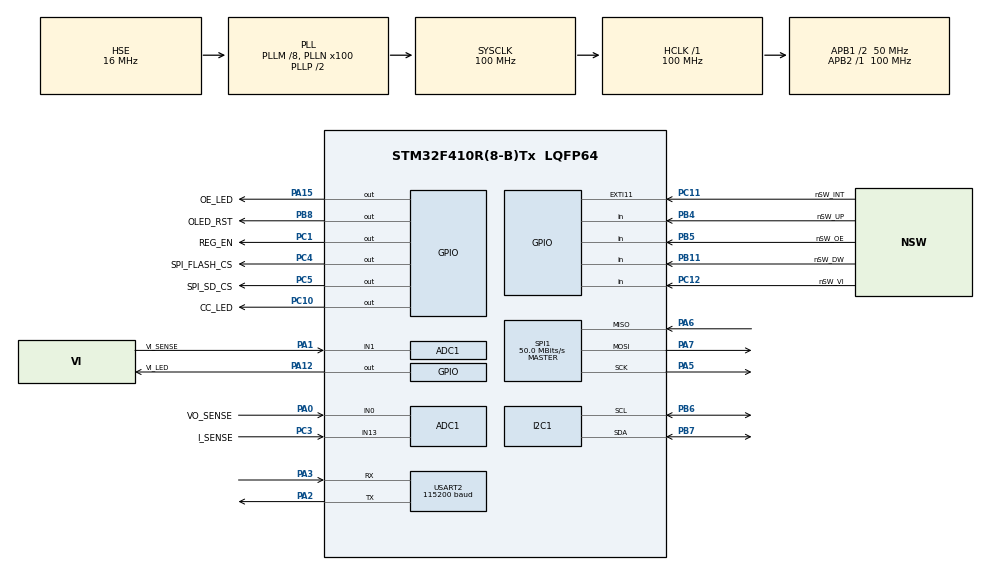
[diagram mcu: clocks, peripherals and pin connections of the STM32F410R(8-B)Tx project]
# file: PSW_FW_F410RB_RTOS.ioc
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Mcu.Family=STM32F4
PA6.Mode=Full_Duplex_Master
VP_SYS_VS_tim6.Mode=TIM6
RCC.CortexFreq_Value=100000000
SPI1.VirtualType=VM_MASTER
ADC1.ContinuousConvMode=ENABLE
NVIC.TIM6_DAC_IRQn=true\:0\:0\:false\:false\:true\:false\:false\:true
Dma.USART2_TX.1.MemInc=DMA_MINC_ENABLE
PC10.Signal=GPIO_Output
PC12.Signal=GPIO_Input
USART2.Parity=PARITY_EVEN
PB11.Signal=GPIO_Input
RCC.SYSCLKSource=RCC_SYSCLKSOURCE_PLLCLK
ProjectManager.StackSize=0x400
NVIC.ADC_IRQn=true\:5\:0\:false\:false\:true\:true\:true\:true
PA15.GPIO_Label=OE_LED
FREERTOS.configENABLE_FPU=1
PA12.Signal=GPIO_Output
PH0\ -\ OSC_IN.Signal=RCC_OSC_IN
Dma.USART2_RX.0.Priority=DMA_PRIORITY_VERY_HIGH
ADC1.Channel-3\#ChannelRegularConversion=ADC_CHANNEL_0
SPI1.Direction=SPI_DIRECTION_2LINES
Dma.USART2_RX.0.PeriphDataAlignment=DMA_PDATAALIGN_BYTE
RCC.HCLKFreq_Value=100000000
RCC.APB2TimFreq_Value=100000000
PB6.Signal=I2C1_SCL
ADC1.InjNumberOfConversion=0
Dma.USART2_TX.1.Mode=DMA_NORMAL
PB6.Mode=I2C
SPI1.CalculateBaudRate=50.0 MBits/s
PC3.Signal=SharedAnalog_PC3
NVIC.DMA2_Stream0_IRQn=true\:5\:0\:false\:false\:true\:true\:false\:true
PC1.PinState=GPIO_PIN_SET
RCC.AHBFreq_Value=100000000
NVIC.EXTI15_10_IRQn=true\:5\:0\:false\:false\:true\:true\:true\:true
ADC1.Channel-0\#ChannelRegularConversion=ADC_CHANNEL_13
NVIC.TIM1_TRG_COM_TIM11_IRQn=true\:5\:0\:false\:false\:true\:true\:true\:true
RCC.HSE_VALUE=16000000
FREERTOS.configUSE_TIMERS=1
PB3.Mode=Trace_Asynchronous_SW
ADC1.SamplingTime-4\#ChannelRegularConversion=ADC_SAMPLETIME_480CYCLES
Dma.ADC1.2.MemDataAlignment=DMA_MDATAALIGN_HALFWORD
Dma.USART2_RX.0.MemDataAlignment=DMA_MDATAALIGN_BYTE
PC4.GPIO_Label=SPI_FLASH_CS
PA14.Mode=Trace_Asynchronous_SW
Dma.USART2_TX.1.Instance=DMA1_Stream6
PC11.GPIO_Label=nSW_INT
Dma.USART2_RX.0.Instance=DMA1_Stream5
PB8.PinState=GPIO_PIN_RESET
Dma.ADC1.2.Direction=DMA_PERIPH_TO_MEMORY
PB7.Signal=I2C1_SDA
VP_FREERTOS_VS_CMSIS_V1.Mode=CMSIS_V1
ADC1.SamplingTime-0\#ChannelRegularConversion=ADC_SAMPLETIME_480CYCLES
TIM11.OC1Preload=ENABLE
Mcu.Package=LQFP64
PA6.Signal=SPI1_MISO
FREERTOS.configUSE_NEWLIB_REENTRANT=1
NVIC.TimeBase=TIM6_DAC_IRQn
Dma.USART2_RX.0.PeriphInc=DMA_PINC_DISABLE
USART2.VirtualMode=VM_ASYNC
Dma.USART2_RX.0.FIFOMode=DMA_FIFOMODE_DISABLE
RCC.EnbaleCSS=true
NVIC.TimeBaseIP=TIM6
PA15.Signal=GPIO_Output
USART2.WordLength=WORDLENGTH_9B
PB5.GPIO_Label=nSW_OE
Dma.Request2=ADC1
Dma.Request1=USART2_TX
RCC.APB1TimFreq_Value=100000000
PC5.Signal=GPIO_Output
Dma.Request0=USART2_RX
NVIC.DMA1_Stream6_IRQn=true\:5\:0\:false\:false\:true\:true\:false\:true
ADC1.EOCSelection=ADC_EOC_SEQ_CONV
ADC1.Rank-4\#ChannelRegularConversion=3
PB4.Signal=GPIO_Input
Dma.ADC1.2.Mode=DMA_CIRCULAR
PA3.Signal=USART2_RX
PA5.Mode=Full_Duplex_Master
RCC.PLLSourceVirtual=RCC_PLLSOURCE_HSE
Dma.USART2_TX.1.Priority=DMA_PRIORITY_HIGH
FREERTOS.Tasks01=uartTxTask,1,512,startUartTxTask,Default,NULL,Dynamic,NULL,NULL;uartRxTask,0,1024,startUartRxTask,Default,NULL,Dynamic,NULL,NULL;oledTask,-2,512,startOledTask,Default,NULL,Dynamic,NULL,NULL;initPsuTask,2,128,startInitPsuTask,Default,NULL,Dynamic,NULL,NULL;ledTask,-2,128,startLedTask,Default,NULL,Dynamic,NULL,NULL;regulatorCtrlTa,-2,128,startRegulatorCtrlTask,Default,NULL,Dynamic,NULL,NULL;btnsTask,-2,512,startBtnsTask,Default,NULL,Dynamic,NULL,NULL;mcp4018Task,-2,128,startMcp4018Task,Default,NULL,Dynamic,NULL,NULL
ADC1.Rank-0\#ChannelRegularConversion=1
PA7.Mode=Full_Duplex_Master
ADC1.Channel-4\#ChannelRegularConversion=ADC_CHANNEL_1
PC10.GPIO_Label=CC_LED
Dma.USART2_TX.1.FIFOMode=DMA_FIFOMODE_DISABLE
SH.SharedAnalog_PC3.1=ADC1_IN13,IN13
SH.SharedAnalog_PC3.0=GPIO_Analog
SH.SharedAnalog_PA0.0=GPIO_Analog
SH.SharedAnalog_PA0.1=ADC1_IN0,IN0
PC11.Signal=GPXTI11
Dma.ADC1.2.PeriphDataAlignment=DMA_PDATAALIGN_HALFWORD
PH1\ -\ OSC_OUT.Mode=HSE-External-Oscillator
PC4.Signal=GPIO_Output
PB11.GPIO_Label=nSW_DW
Dma.USART2_RX.0.Direction=DMA_PERIPH_TO_MEMORY
TIM11.Prescaler=10000-1
ADC1.ExternalTrigConvEdge=ADC_EXTERNALTRIGCONVEDGE_NONE
RCC.APB1CLKDivider=RCC_HCLK_DIV2
Dma.USART2_TX.1.PeriphDataAlignment=DMA_PDATAALIGN_BYTE
NVIC.USART2_IRQn=true\:5\:0\:false\:false\:true\:true\:true\:true
USART2.BaudRate=115200
PA12.GPIO_Label=VI_LED
TIM11.OCMode_1=TIM_OCMODE_TOGGLE
PA0-WKUP.GPIO_Label=VO_SENSE
PA0-WKUP.Signal=SharedAnalog_PA0
VP_TIM11_VS_ClockSourceINT.Mode=Enable_Timer
Dma.USART2_RX.0.Mode=DMA_NORMAL
PA3.Mode=Asynchronous
PA13.Signal=SYS_JTMS-SWDIO
PB8.GPIO_Label=OLED_RST
PH0\ -\ OSC_IN.Mode=HSE-External-Oscillator
Dma.ADC1.2.MemInc=DMA_MINC_ENABLE
ProjectManager.TargetToolchain=STM32CubeIDE
NVIC.DMA1_Stream5_IRQn=true\:5\:0\:false\:false\:true\:false\:false\:true
I2C1.I2C_Mode=I2C_Fast
RCC.LSE_VALUE=32768
PA1.Signal=SharedAnalog_PA1
PA5.Signal=SPI1_SCK
PH1\ -\ OSC_OUT.Signal=RCC_OSC_OUT
Dma.USART2_TX.1.PeriphInc=DMA_PINC_DISABLE
board=custom
RCC.VCOOutputFreq_Value=200000000
TIM11.Period=5000-1
Dma.USART2_TX.1.Direction=DMA_MEMORY_TO_PERIPH
RCC.APB2Freq_Value=100000000
PB4.GPIO_Label=nSW_UP
PC11.GPIO_ModeDefaultEXTI=GPIO_MODE_IT_FALLING
SPI1.Mode=SPI_MODE_MASTER
PA1.GPIO_Label=VI_SENSE
PC1.GPIO_Label=REG_EN
ADC1.DMAContinuousRequests=ENABLE
ADC1.NbrOfConversion=3
PA13.Mode=Trace_Asynchronous_SW
Mcu.Name=STM32F410R(8-B)Tx
Dma.USART2_RX.0.MemInc=DMA_MINC_ENABLE
PA2.Signal=USART2_TX
Dma.ADC1.2.Instance=DMA2_Stream0
ADC1.ExternalTrigConv=ADC_SOFTWARE_START
RCC.48MHZClocksFreq_Value=50000000
PB3.Signal=SYS_JTDO-SWO
RCC.SYSCLKFreq_VALUE=100000000
Dma.ADC1.2.Priority=DMA_PRIORITY_HIGH
PB5.Signal=GPIO_Input
ADC1.master=1
ADC1.Rank-3\#ChannelRegularConversion=2
ADC1.SamplingTime-3\#ChannelRegularConversion=ADC_SAMPLETIME_480CYCLES
Dma.ADC1.2.PeriphInc=DMA_PINC_DISABLE
PC5.GPIO_Label=SPI_SD_CS
PC12.GPIO_Label=nSW_VI
VP_TIM11_VS_no_output1.Mode=Output Compare1 No Output
PB7.Mode=I2C
PA14.Signal=SYS_JTCK-SWCLK
ProjectManager.HeapSize=0x200
Dma.ADC1.2.FIFOMode=DMA_FIFOMODE_DISABLE
RCC.HSI_VALUE=16000000
TIM11.AutoReloadPreload=TIM_AUTORELOAD_PRELOAD_ENABLE
SH.SharedAnalog_PA1.1=ADC1_IN1,IN1
NVIC.PriorityGroup=NVIC_PRIORITYGROUP_4
SH.SharedAnalog_PA1.0=GPIO_Analog
ADC1.NbrOfConversionFlag=1
RCC.PLLM=8
RCC.PLLN=100
TIM11.Channel=TIM_CHANNEL_1
PA2.Mode=Asynchronous
PB8.Signal=GPIO_Output
PC3.GPIO_Label=I_SENSE
Dma.USART2_TX.1.MemDataAlignment=DMA_MDATAALIGN_BYTE
RCC.APB1Freq_Value=50000000
ADC1.ClockPrescaler=ADC_CLOCK_SYNC_PCLK_DIV4
PC1.Signal=GPIO_Output
PA7.Signal=SPI1_MOSI

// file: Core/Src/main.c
/* USER CODE BEGIN Header */
/**
 ******************************************************************************
 * @file           : main.c
 * @brief          : Main program body
 ******************************************************************************
 * @attention
 *
 * <h2><center>&copy; Copyright (c) 2021 STMicroelectronics.
 * All rights reserved.</center></h2>
 *
 * This software component is licensed by ST under BSD 3-Clause license,
 * the "License"; You may not use this file except in compliance with the
 * License. You may obtain a copy of the License at:
 *                        opensource.org/licenses/BSD-3-Clause
 *
 ******************************************************************************
 */
/* USER CODE END Header */
#include "main.h"
#include "cmsis_os.h"

/* USER CODE BEGIN Includes */
#include "display.h"
#include "leds.h"
#include "stats.h"
#include "uart.h"
#include "analog.h"
#include "buttons.h"
#include "mcp4018.h"
/* USER CODE END Includes */

ADC_HandleTypeDef hadc1;
DMA_HandleTypeDef hdma_adc1;

I2C_HandleTypeDef hi2c1;

SPI_HandleTypeDef hspi1;

TIM_HandleTypeDef htim11;

UART_HandleTypeDef huart2;
DMA_HandleTypeDef hdma_usart2_rx;
DMA_HandleTypeDef hdma_usart2_tx;

osThreadId uartTxTaskHandle;
osThreadId uartRxTaskHandle;
osThreadId oledTaskHandle;
osThreadId initPsuTaskHandle;
osThreadId ledTaskHandle;
osThreadId regulatorCtrlTaHandle;
osThreadId btnsTaskHandle;
osThreadId mcp4018TaskHandle;
/* USER CODE BEGIN PV */
Stats psuStats;
uartRxData uartRx;
uint8_t interruptFlags = INT_FLAG_CLEAR;

extern uint16_t analogBuffDMA[ANALOG_DMA_BUFF_SIZE];
extern uint16_t analogBuffFinal[ANALOG_DMA_BUFF_SIZE];

/* USER CODE END PV */

void SystemClock_Config(void);
static void MX_GPIO_Init(void);
static void MX_DMA_Init(void);
static void MX_ADC1_Init(void);
static void MX_I2C1_Init(void);
static void MX_TIM11_Init(void);
static void MX_USART2_UART_Init(void);
static void MX_SPI1_Init(void);
void startUartTxTask(void const * argument);
void startUartRxTask(void const * argument);
void startOledTask(void const * argument);
void startInitPsuTask(void const * argument);
void startLedTask(void const * argument);
void startRegulatorCtrlTask(void const * argument);
void startBtnsTask(void const * argument);
void startMcp4018Task(void const * argument);

int main(void)
{

  /* MCU Configuration--------------------------------------------------------*/

  /* Reset of all peripherals, Initializes the Flash interface and the Systick. */
  HAL_Init();

  /* Configure the system clock */
  SystemClock_Config();

  /* Initialize all configured peripherals */
  MX_GPIO_Init();
  MX_DMA_Init();
  MX_ADC1_Init();
  MX_I2C1_Init();
  MX_TIM11_Init();
  MX_USART2_UART_Init();
  MX_SPI1_Init();
  /* USER CODE BEGIN 2 */
	HAL_ADC_Start_DMA(&hadc1, (uint32_t*) analogBuffDMA, ANALOG_DMA_BUFF_SIZE);	//DMA + ADC to read voltages and current
	HAL_TIM_Base_Start_IT(&htim11);	//0.5s interrupt to update oled
  /* USER CODE END 2 */

  /* Create the thread(s) */
  /* definition and creation of uartTxTask */
  osThreadDef(uartTxTask, startUartTxTask, osPriorityAboveNormal, 0, 512);
  uartTxTaskHandle = osThreadCreate(osThread(uartTxTask), NULL);

  /* definition and creation of uartRxTask */
  osThreadDef(uartRxTask, startUartRxTask, osPriorityNormal, 0, 1024);
  uartRxTaskHandle = osThreadCreate(osThread(uartRxTask), NULL);

  /* definition and creation of oledTask */
  osThreadDef(oledTask, startOledTask, osPriorityLow, 0, 512);
  oledTaskHandle = osThreadCreate(osThread(oledTask), NULL);

  /* definition and creation of initPsuTask */
  osThreadDef(initPsuTask, startInitPsuTask, osPriorityHigh, 0, 128);
  initPsuTaskHandle = osThreadCreate(osThread(initPsuTask), NULL);

  /* definition and creation of ledTask */
  osThreadDef(ledTask, startLedTask, osPriorityLow, 0, 128);
  ledTaskHandle = osThreadCreate(osThread(ledTask), NULL);

  /* definition and creation of regulatorCtrlTa */
  osThreadDef(regulatorCtrlTa, startRegulatorCtrlTask, osPriorityLow, 0, 128);
  regulatorCtrlTaHandle = osThreadCreate(osThread(regulatorCtrlTa), NULL);

  /* definition and creation of btnsTask */
  osThreadDef(btnsTask, startBtnsTask, osPriorityLow, 0, 512);
  btnsTaskHandle = osThreadCreate(osThread(btnsTask), NULL);

  /* definition and creation of mcp4018Task */
  osThreadDef(mcp4018Task, startMcp4018Task, osPriorityLow, 0, 128);
  mcp4018TaskHandle = osThreadCreate(osThread(mcp4018Task), NULL);

  /* Start scheduler */
  osKernelStart();

  /* We should never get here as control is now taken by the scheduler */
  /* Infinite loop */
  /* USER CODE BEGIN WHILE */
	ledToggle(LED_NUM_OE);
	while (1) {
    /* USER CODE END WHILE */

    /* USER CODE BEGIN 3 */
		//panic blink!
		ledToggle(LED_NUM_CC);
		ledToggle(LED_NUM_OE);
		ledToggle(LED_NUM_VI);
		HAL_Delay(75);
	}
  /* USER CODE END 3 */
}

void SystemClock_Config(void)
{
  RCC_OscInitTypeDef RCC_OscInitStruct = {0};
  RCC_ClkInitTypeDef RCC_ClkInitStruct = {0};

  /** Configure the main internal regulator output voltage
  */
  __HAL_RCC_PWR_CLK_ENABLE();
  __HAL_PWR_VOLTAGESCALING_CONFIG(PWR_REGULATOR_VOLTAGE_SCALE1);
  /** Initializes the RCC Oscillators according to the specified parameters
  * in the RCC_OscInitTypeDef structure.
  */
  RCC_OscInitStruct.OscillatorType = RCC_OSCILLATORTYPE_HSE;
  RCC_OscInitStruct.HSEState = RCC_HSE_ON;
  RCC_OscInitStruct.PLL.PLLState = RCC_PLL_ON;
  RCC_OscInitStruct.PLL.PLLSource = RCC_PLLSOURCE_HSE;
  RCC_OscInitStruct.PLL.PLLM = 8;
  RCC_OscInitStruct.PLL.PLLN = 100;
  RCC_OscInitStruct.PLL.PLLP = RCC_PLLP_DIV2;
  RCC_OscInitStruct.PLL.PLLQ = 4;
  RCC_OscInitStruct.PLL.PLLR = 2;
  if (HAL_RCC_OscConfig(&RCC_OscInitStruct) != HAL_OK)
  {
    Error_Handler();
  }
  /** Initializes the CPU, AHB and APB buses clocks
  */
  RCC_ClkInitStruct.ClockType = RCC_CLOCKTYPE_HCLK|RCC_CLOCKTYPE_SYSCLK
                              |RCC_CLOCKTYPE_PCLK1|RCC_CLOCKTYPE_PCLK2;
  RCC_ClkInitStruct.SYSCLKSource = RCC_SYSCLKSOURCE_PLLCLK;
  RCC_ClkInitStruct.AHBCLKDivider = RCC_SYSCLK_DIV1;
  RCC_ClkInitStruct.APB1CLKDivider = RCC_HCLK_DIV2;
  RCC_ClkInitStruct.APB2CLKDivider = RCC_HCLK_DIV1;

  if (HAL_RCC_ClockConfig(&RCC_ClkInitStruct, FLASH_LATENCY_3) != HAL_OK)
  {
    Error_Handler();
  }
  /** Enables the Clock Security System
  */
  HAL_RCC_EnableCSS();
}

static void MX_ADC1_Init(void)
{

  ADC_ChannelConfTypeDef sConfig = {0};

  /** Configure the global features of the ADC (Clock, Resolution, Data Alignment and number of conversion)
  */
  hadc1.Instance = ADC1;
  hadc1.Init.ClockPrescaler = ADC_CLOCK_SYNC_PCLK_DIV4;
  hadc1.Init.Resolution = ADC_RESOLUTION_12B;
  hadc1.Init.ScanConvMode = ENABLE;
  hadc1.Init.ContinuousConvMode = ENABLE;
  hadc1.Init.DiscontinuousConvMode = DISABLE;
  hadc1.Init.ExternalTrigConvEdge = ADC_EXTERNALTRIGCONVEDGE_NONE;
  hadc1.Init.ExternalTrigConv = ADC_SOFTWARE_START;
  hadc1.Init.DataAlign = ADC_DATAALIGN_RIGHT;
  hadc1.Init.NbrOfConversion = 3;
  hadc1.Init.DMAContinuousRequests = ENABLE;
  hadc1.Init.EOCSelection = ADC_EOC_SEQ_CONV;
  if (HAL_ADC_Init(&hadc1) != HAL_OK)
  {
    Error_Handler();
  }
  /** Configure for the selected ADC regular channel its corresponding rank in the sequencer and its sample time.
  */
  sConfig.Channel = ADC_CHANNEL_13;
  sConfig.Rank = 1;
  sConfig.SamplingTime = ADC_SAMPLETIME_480CYCLES;
  if (HAL_ADC_ConfigChannel(&hadc1, &sConfig) != HAL_OK)
  {
    Error_Handler();
  }
  /** Configure for the selected ADC regular channel its corresponding rank in the sequencer and its sample time.
  */
  sConfig.Channel = ADC_CHANNEL_0;
  sConfig.Rank = 2;
  if (HAL_ADC_ConfigChannel(&hadc1, &sConfig) != HAL_OK)
  {
    Error_Handler();
  }
  /** Configure for the selected ADC regular channel its corresponding rank in the sequencer and its sample time.
  */
  sConfig.Channel = ADC_CHANNEL_1;
  sConfig.Rank = 3;
  if (HAL_ADC_ConfigChannel(&hadc1, &sConfig) != HAL_OK)
  {
    Error_Handler();
  }

}

static void MX_I2C1_Init(void)
{

  hi2c1.Instance = I2C1;
  hi2c1.Init.ClockSpeed = 400000;
  hi2c1.Init.DutyCycle = I2C_DUTYCYCLE_2;
  hi2c1.Init.OwnAddress1 = 0;
  hi2c1.Init.AddressingMode = I2C_ADDRESSINGMODE_7BIT;
  hi2c1.Init.DualAddressMode = I2C_DUALADDRESS_DISABLE;
  hi2c1.Init.OwnAddress2 = 0;
  hi2c1.Init.GeneralCallMode = I2C_GENERALCALL_DISABLE;
  hi2c1.Init.NoStretchMode = I2C_NOSTRETCH_DISABLE;
  if (HAL_I2C_Init(&hi2c1) != HAL_OK)
  {
    Error_Handler();
  }

}

static void MX_SPI1_Init(void)
{

  /* SPI1 parameter configuration*/
  hspi1.Instance = SPI1;
  hspi1.Init.Mode = SPI_MODE_MASTER;
  hspi1.Init.Direction = SPI_DIRECTION_2LINES;
  hspi1.Init.DataSize = SPI_DATASIZE_8BIT;
  hspi1.Init.CLKPolarity = SPI_POLARITY_LOW;
  hspi1.Init.CLKPhase = SPI_PHASE_1EDGE;
  hspi1.Init.NSS = SPI_NSS_SOFT;
  hspi1.Init.BaudRatePrescaler = SPI_BAUDRATEPRESCALER_2;
  hspi1.Init.FirstBit = SPI_FIRSTBIT_MSB;
  hspi1.Init.TIMode = SPI_TIMODE_DISABLE;
  hspi1.Init.CRCCalculation = SPI_CRCCALCULATION_DISABLE;
  hspi1.Init.CRCPolynomial = 15;
  if (HAL_SPI_Init(&hspi1) != HAL_OK)
  {
    Error_Handler();
  }

}

static void MX_TIM11_Init(void)
{

  TIM_OC_InitTypeDef sConfigOC = {0};

  htim11.Instance = TIM11;
  htim11.Init.Prescaler = 10000-1;
  htim11.Init.CounterMode = TIM_COUNTERMODE_UP;
  htim11.Init.Period = 5000-1;
  htim11.Init.ClockDivision = TIM_CLOCKDIVISION_DIV1;
  htim11.Init.AutoReloadPreload = TIM_AUTORELOAD_PRELOAD_ENABLE;
  if (HAL_TIM_Base_Init(&htim11) != HAL_OK)
  {
    Error_Handler();
  }
  if (HAL_TIM_OC_Init(&htim11) != HAL_OK)
  {
    Error_Handler();
  }
  sConfigOC.OCMode = TIM_OCMODE_TOGGLE;
  sConfigOC.Pulse = 0;
  sConfigOC.OCPolarity = TIM_OCPOLARITY_HIGH;
  sConfigOC.OCFastMode = TIM_OCFAST_DISABLE;
  if (HAL_TIM_OC_ConfigChannel(&htim11, &sConfigOC, TIM_CHANNEL_1) != HAL_OK)
  {
    Error_Handler();
  }
  __HAL_TIM_ENABLE_OCxPRELOAD(&htim11, TIM_CHANNEL_1);

}

static void MX_USART2_UART_Init(void)
{

  huart2.Instance = USART2;
  huart2.Init.BaudRate = 115200;
  huart2.Init.WordLength = UART_WORDLENGTH_9B;
  huart2.Init.StopBits = UART_STOPBITS_1;
  huart2.Init.Parity = UART_PARITY_EVEN;
  huart2.Init.Mode = UART_MODE_TX_RX;
  huart2.Init.HwFlowCtl = UART_HWCONTROL_NONE;
  huart2.Init.OverSampling = UART_OVERSAMPLING_16;
  if (HAL_UART_Init(&huart2) != HAL_OK)
  {
    Error_Handler();
  }

}

static void MX_DMA_Init(void)
{

  /* DMA controller clock enable */
  __HAL_RCC_DMA1_CLK_ENABLE();
  __HAL_RCC_DMA2_CLK_ENABLE();

  /* DMA interrupt init */
  /* DMA1_Stream5_IRQn interrupt configuration */
  HAL_NVIC_SetPriority(DMA1_Stream5_IRQn, 5, 0);
  HAL_NVIC_EnableIRQ(DMA1_Stream5_IRQn);
  /* DMA1_Stream6_IRQn interrupt configuration */
  HAL_NVIC_SetPriority(DMA1_Stream6_IRQn, 5, 0);
  HAL_NVIC_EnableIRQ(DMA1_Stream6_IRQn);
  /* DMA2_Stream0_IRQn interrupt configuration */
  HAL_NVIC_SetPriority(DMA2_Stream0_IRQn, 5, 0);
  HAL_NVIC_EnableIRQ(DMA2_Stream0_IRQn);

}

static void MX_GPIO_Init(void)
{
  GPIO_InitTypeDef GPIO_InitStruct = {0};

  /* GPIO Ports Clock Enable */
  __HAL_RCC_GPIOH_CLK_ENABLE();
  __HAL_RCC_GPIOC_CLK_ENABLE();
  __HAL_RCC_GPIOA_CLK_ENABLE();
  __HAL_RCC_GPIOB_CLK_ENABLE();

  /*Configure GPIO pin Output Level */
  HAL_GPIO_WritePin(REG_EN_GPIO_Port, REG_EN_Pin, GPIO_PIN_SET);

  /*Configure GPIO pin Output Level */
  HAL_GPIO_WritePin(GPIOC, SPI_FLASH_CS_Pin|SPI_SD_CS_Pin|CC_LED_Pin, GPIO_PIN_RESET);

  /*Configure GPIO pin Output Level */
  HAL_GPIO_WritePin(GPIOA, VI_LED_Pin|OE_LED_Pin, GPIO_PIN_RESET);

  /*Configure GPIO pin Output Level */
  HAL_GPIO_WritePin(OLED_RST_GPIO_Port, OLED_RST_Pin, GPIO_PIN_RESET);

  /*Configure GPIO pins : REG_EN_Pin SPI_FLASH_CS_Pin SPI_SD_CS_Pin CC_LED_Pin */
  GPIO_InitStruct.Pin = REG_EN_Pin|SPI_FLASH_CS_Pin|SPI_SD_CS_Pin|CC_LED_Pin;
  GPIO_InitStruct.Mode = GPIO_MODE_OUTPUT_PP;
  GPIO_InitStruct.Pull = GPIO_NOPULL;
  GPIO_InitStruct.Speed = GPIO_SPEED_FREQ_LOW;
  HAL_GPIO_Init(GPIOC, &GPIO_InitStruct);

  /*Configure GPIO pins : VI_LED_Pin OE_LED_Pin */
  GPIO_InitStruct.Pin = VI_LED_Pin|OE_LED_Pin;
  GPIO_InitStruct.Mode = GPIO_MODE_OUTPUT_PP;
  GPIO_InitStruct.Pull = GPIO_NOPULL;
  GPIO_InitStruct.Speed = GPIO_SPEED_FREQ_LOW;
  HAL_GPIO_Init(GPIOA, &GPIO_InitStruct);

  /*Configure GPIO pin : nSW_INT_Pin */
  GPIO_InitStruct.Pin = nSW_INT_Pin;
  GPIO_InitStruct.Mode = GPIO_MODE_IT_FALLING;
  GPIO_InitStruct.Pull = GPIO_NOPULL;
  HAL_GPIO_Init(nSW_INT_GPIO_Port, &GPIO_InitStruct);

  /*Configure GPIO pin : nSW_VI_Pin */
  GPIO_InitStruct.Pin = nSW_VI_Pin;
  GPIO_InitStruct.Mode = GPIO_MODE_INPUT;
  GPIO_InitStruct.Pull = GPIO_NOPULL;
  HAL_GPIO_Init(nSW_VI_GPIO_Port, &GPIO_InitStruct);

  /*Configure GPIO pins : nSW_DW_Pin nSW_UP_Pin nSW_OE_Pin */
  GPIO_InitStruct.Pin = nSW_DW_Pin|nSW_UP_Pin|nSW_OE_Pin;
  GPIO_InitStruct.Mode = GPIO_MODE_INPUT;
  GPIO_InitStruct.Pull = GPIO_NOPULL;
  HAL_GPIO_Init(GPIOB, &GPIO_InitStruct);

  /*Configure GPIO pin : OLED_RST_Pin */
  GPIO_InitStruct.Pin = OLED_RST_Pin;
  GPIO_InitStruct.Mode = GPIO_MODE_OUTPUT_PP;
  GPIO_InitStruct.Pull = GPIO_NOPULL;
  GPIO_InitStruct.Speed = GPIO_SPEED_FREQ_LOW;
  HAL_GPIO_Init(OLED_RST_GPIO_Port, &GPIO_InitStruct);

  /* EXTI interrupt init*/
  HAL_NVIC_SetPriority(EXTI15_10_IRQn, 5, 0);
  HAL_NVIC_EnableIRQ(EXTI15_10_IRQn);

}

/* USER CODE BEGIN 4 */
void HAL_UART_RxCpltCallback(UART_HandleTypeDef *huart) {
	uartRxIntHandler(&uartRx);
}

double potToVoltage(uint8_t potVal) {
	double potCalc = (((double) potVal / 128.0)) * 5000.0;
	double temp = 800.0 * ((4690.0 / potCalc) + 1.0);
	return temp;

}

uint8_t voltageToPot(double vVal) {
	double potCalc = 4960.0 / (((double) vVal / 800.0) - 1.0);
	potCalc = (potCalc / 5000.0) * 128.0;
	return (uint8_t) potCalc;
}

void HAL_ADC_ConvCpltCallback(ADC_HandleTypeDef *hadc) {
	memcpy(analogBuffFinal, analogBuffDMA, sizeof(analogBuffDMA));
}

void HAL_GPIO_EXTI_Callback(uint16_t GPIO_Pin) {
	if (GPIO_Pin == nSW_INT_Pin) // If The INT Source Is button interrupt
	{
		interruptFlags |= INT_FLAG_BTN;
	}
}
/* USER CODE END 4 */

void startUartTxTask(void const * argument)
{
  /* USER CODE BEGIN 5 */
//	HAL_UART_Transmit_DMA(&huart2, uartTxBuff, UART_DMA_BUFFER_SIZE);
	/* Infinite loop */
	osThreadTerminate(osThreadGetId());
	for (;;) {
		osDelay(10);
	}
	osThreadTerminate(osThreadGetId());
  /* USER CODE END 5 */
}

void startUartRxTask(void const * argument)
{
  /* USER CODE BEGIN startUartRxTask */
	uartRxConfigSet(&psuStats, MSG_HELP, (int)NULL);
	/* Infinite loop */
	for (;;) {
		HAL_UART_Receive_DMA(&huart2, (uint8_t*) &uartRx.uartRxChar,
		UART_RX_CHAR_SIZE);
		uartRxStringParser(&uartRx, &psuStats);
		osDelay(25);
	}
	osThreadTerminate(osThreadGetId());
  /* USER CODE END startUartRxTask */
}

void startOledTask(void const * argument)
{
  /* USER CODE BEGIN startOledTask */
	double Vin = 0;
	double Vout = 0;
	double Iout = 0;
	displayInit();

	/* Infinite loop */
	for (;;) {
		if (interruptFlags & INT_FLAG_OLED_UPDATE) {	//check interrupt flag
			interruptFlags &= ~INT_FLAG_OLED_UPDATE;	//clear interrupt flag
			Vin = analogReadVin(analogBuffFinal[ANALOG_BUFF_V_IN_POS]);
			Vout = analogReadVout(analogBuffFinal[ANALOG_BUFF_V_OUT_POS]);
			Iout = analogReadIOut(analogBuffFinal[ANALOG_BUFF_I_SENSE_POS]);
			displayVoltageCurrent(&psuStats, Vin, Vout, Iout);
		}
		//check if current limit reached
		if (Iout >= psuStats.iSet) {
			psuStats.iLim = I_LIM_SET;
		} else {
			psuStats.iLim = I_LIM_NSET;
		}
	}
	osThreadTerminate(osThreadGetId());
  /* USER CODE END startOledTask */
}

void startInitPsuTask(void const * argument)
{
  /* USER CODE BEGIN startInitPsuTask */
	ledsInit();
	psuStats.vSet = V_DEFAULT;
	psuStats.iSet = I_DEFAULT;
	psuStats.iLim = I_LIM_DEFAULT;
	psuStats.VI = VI_DEFAULT;
	psuStats.OE = OE_DEFAULT;

	ledSet(&psuStats);
	osThreadTerminate(osThreadGetId());	// do not need the task after init
//should never get here!
	ledOn(LED_NUM_CC);
	ledOff(LED_NUM_OE);
	ledOn(LED_NUM_VI);
	/* Infinite loop */
	for (;;) {
		ledToggle(LED_NUM_CC);
		ledToggle(LED_NUM_OE);
		ledToggle(LED_NUM_VI);
		osDelay(50);
	}
  /* USER CODE END startInitPsuTask */
}

void startLedTask(void const * argument)
{
  /* USER CODE BEGIN startLedTask */
	osDelay(2000);	//wait for init sequence to complete
	if (psuStats.OE == OE_ENABLED) {
		ledOn(LED_NUM_OE);
	} else {
		ledOff(LED_NUM_OE);
	}
	if (psuStats.VI == VI_V_SEL) {
		ledOn(LED_NUM_VI);
	} else {
		ledOff(LED_NUM_VI);
	}
	if (psuStats.iLim == I_LIM_SET) {
		ledOn(LED_NUM_CC);
	} else {
		ledOff(LED_NUM_CC);
	}
	/* Infinite loop */
	for (;;) {
		if (psuStats.OE == OE_ENABLED) {
			ledOn(LED_NUM_OE);
		} else {
			ledOff(LED_NUM_OE);
		}
		if (psuStats.VI == VI_V_SEL) {
			ledOn(LED_NUM_VI);
		} else {
			ledOff(LED_NUM_VI);
		}
		if (psuStats.iLim == I_LIM_SET) {
			ledOn(LED_NUM_CC);
		} else {
			ledOff(LED_NUM_CC);
		}
		osDelay(25);
	}
  /* USER CODE END startLedTask */
}

void startRegulatorCtrlTask(void const * argument)
{
  /* USER CODE BEGIN startRegulatorCtrlTask */
//Regulator enable pin is made active low
	HAL_GPIO_WritePin(REG_EN_GPIO_Port, REG_EN_Pin, GPIO_PIN_SET);
	/* Infinite loop */
	for (;;) {
		if (psuStats.OE == OE_ENABLED) {
			HAL_GPIO_WritePin(REG_EN_GPIO_Port, REG_EN_Pin, GPIO_PIN_RESET);
		} else {
			HAL_GPIO_WritePin(REG_EN_GPIO_Port, REG_EN_Pin, GPIO_PIN_SET);
		}
		osDelay(50);
	}
  /* USER CODE END startRegulatorCtrlTask */
}

void startBtnsTask(void const * argument)
{
  /* USER CODE BEGIN startBtnsTask */
	/* Infinite loop */
	for (;;) {
		if (interruptFlags & INT_FLAG_BTN) {	//check interrupt flag
			interruptFlags &= ~INT_FLAG_BTN;	//clear interrupt flag
			uint8_t btns = btnsRead();
			if (btns == BTN_NUM_VI) {
				if (psuStats.VI == VI_V_SEL) {
					psuStats.VI = VI_I_SEL;
				} else if (psuStats.VI == VI_I_SEL) {
					psuStats.VI = VI_V_SEL;
				} else { //something went wrong, reinit psu
//					fatalErrorScreen();
//					initPSU();
				}
			} else if (btns == BTN_NUM_UP) {
				if (psuStats.VI == VI_V_SEL) {
					psuStats.vSet--;	//reduce R to increase V
//					MCP4018_WriteVal(psuStats.vSet);
				} else if (psuStats.VI == VI_I_SEL) {
					psuStats.iSet += 50;
				} else { //something went wrong, reinit psu
//					fatalErrorScreen();
//					initPSU();
				}
			} else if (btns == BTN_NUM_DWN) {
				if (psuStats.VI == VI_V_SEL) {
					psuStats.vSet++;	//increase R to decrease V
//					MCP4018_WriteVal(psuStats.vSet);
				} else if (psuStats.VI == VI_I_SEL) {
					psuStats.iSet -= 50;
				} else { //something went wrong, reinit psu
//					fatalErrorScreen();
//					initPSU();
				}

			} else if (btns == BTN_NUM_OE) {
				if (psuStats.OE == OE_ENABLED) {
					psuStats.OE = OE_DISABLED;
				} else if (psuStats.OE == OE_DISABLED) {
					psuStats.OE = OE_ENABLED;
				} else { //something went wrong, reinit psu
//					fatalErrorScreen();
//					initPSU();
				}

			}
		}
		osDelay(10);
	}
  /* USER CODE END startBtnsTask */
}

void startMcp4018Task(void const * argument)
{
  /* USER CODE BEGIN startMcp4018Task */
	/* Infinite loop */
	for (;;) {
		mcp4018WriteVal(psuStats.vSet);
		osDelay(10);
	}
  /* USER CODE END startMcp4018Task */
}

 /**
  * @brief  Period elapsed callback in non blocking mode
  * @note   This function is called  when TIM6 interrupt took place, inside
  * HAL_TIM_IRQHandler(). It makes a direct call to HAL_IncTick() to increment
  * a global variable "uwTick" used as application time base.
  * @param  htim : TIM handle
  * @retval None
  */
void HAL_TIM_PeriodElapsedCallback(TIM_HandleTypeDef *htim)
{
  if (htim->Instance == TIM6) {
    HAL_IncTick();
  }
  /* USER CODE BEGIN Callback 1 */

	if (htim->Instance == TIM11) {
		interruptFlags |= INT_FLAG_OLED_UPDATE;
	}
  /* USER CODE END Callback 1 */
}

void Error_Handler(void)
{
	__disable_irq();
	while (1) {
	}
}

/************************ (C) COPYRIGHT STMicroelectronics *****END OF FILE****/

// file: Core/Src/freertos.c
/* USER CODE BEGIN Header */
/**
 ******************************************************************************
 * File Name          : freertos.c
 * Description        : Code for freertos applications
 ******************************************************************************
 * @attention
 *
 * <h2><center>&copy; Copyright (c) 2021 STMicroelectronics.
 * All rights reserved.</center></h2>
 *
 * This software component is licensed by ST under Ultimate Liberty license
 * SLA0044, the "License"; You may not use this file except in compliance with
 * the License. You may obtain a copy of the License at:
 *                             www.st.com/SLA0044
 *
 ******************************************************************************
 */
/* USER CODE END Header */

#include "FreeRTOS.h"
#include "task.h"
#include "main.h"

/* GetIdleTaskMemory prototype (linked to static allocation support) */
void vApplicationGetIdleTaskMemory( StaticTask_t **ppxIdleTaskTCBBuffer, StackType_t **ppxIdleTaskStackBuffer, uint32_t *pulIdleTaskStackSize );

/* GetTimerTaskMemory prototype (linked to static allocation support) */
void vApplicationGetTimerTaskMemory( StaticTask_t **ppxTimerTaskTCBBuffer, StackType_t **ppxTimerTaskStackBuffer, uint32_t *pulTimerTaskStackSize );

/* USER CODE BEGIN GET_IDLE_TASK_MEMORY */
static StaticTask_t xIdleTaskTCBBuffer;
static StackType_t xIdleStack[configMINIMAL_STACK_SIZE];

void vApplicationGetIdleTaskMemory( StaticTask_t **ppxIdleTaskTCBBuffer, StackType_t **ppxIdleTaskStackBuffer, uint32_t *pulIdleTaskStackSize )
{
  *ppxIdleTaskTCBBuffer = &xIdleTaskTCBBuffer;
  *ppxIdleTaskStackBuffer = &xIdleStack[0];
  *pulIdleTaskStackSize = configMINIMAL_STACK_SIZE;
  /* place for user code */
}
/* USER CODE END GET_IDLE_TASK_MEMORY */

/* USER CODE BEGIN GET_TIMER_TASK_MEMORY */
static StaticTask_t xTimerTaskTCBBuffer;
static StackType_t xTimerStack[configTIMER_TASK_STACK_DEPTH];

void vApplicationGetTimerTaskMemory( StaticTask_t **ppxTimerTaskTCBBuffer, StackType_t **ppxTimerTaskStackBuffer, uint32_t *pulTimerTaskStackSize )
{
  *ppxTimerTaskTCBBuffer = &xTimerTaskTCBBuffer;
  *ppxTimerTaskStackBuffer = &xTimerStack[0];
  *pulTimerTaskStackSize = configTIMER_TASK_STACK_DEPTH;
  /* place for user code */
}
/* USER CODE END GET_TIMER_TASK_MEMORY */

/************************ (C) COPYRIGHT STMicroelectronics *****END OF FILE****/
